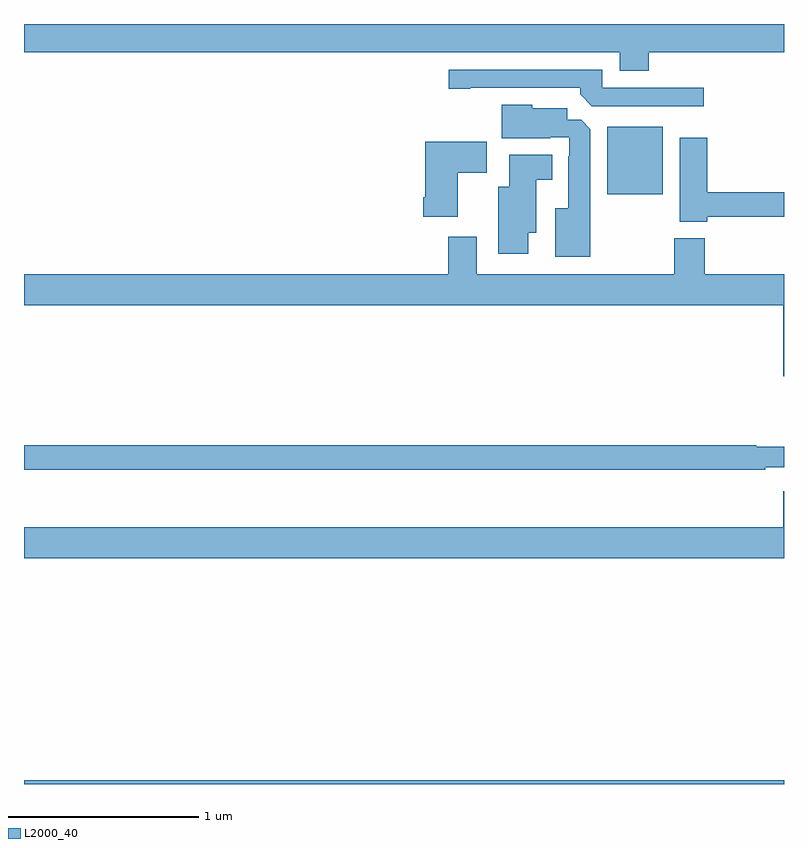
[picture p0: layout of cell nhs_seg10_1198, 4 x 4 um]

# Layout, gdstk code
import gdstk
lib = gdstk.Library(unit=1e-6, precision=1e-09)
def R(c, l, rs):  # rectangles x0, y0, x1, y1
    for r in rs: c.add(gdstk.rectangle(r[:2], r[2:], *l))
def P(c, l, *ps):  # polygons
    for p in ps: c.add(gdstk.Polygon(p, *l))
L2000_40 = (2000, 40)

nhs_seg10_1198 = lib.new_cell('nhs_seg10_1198')
R(nhs_seg10_1198, L2000_40, [(173,1260.5,177,1260.52), (176.069,1263.605,176.362,1263.958)])
P(nhs_seg10_1198, L2000_40, [(176.288,1264.352),(177,1264.352),(177,1264.5),(173,1264.5),(173,1264.352),(176.135,1264.352),(176.135,1264.253),(176.288,1264.253)],
  [(176.578,1264.164),(176.043,1264.164),(176.043,1264.26),(175.236,1264.26),(175.236,1264.159),(175.348,1264.159),(175.348,1264.164),(175.928,1264.164),(175.928,1264.13),(175.989,1264.068),(176.578,1264.068)],
  [(175.981,1263.947),(175.932,1263.996),(175.858,1263.996),(175.858,1264.057),(175.674,1264.057),(175.674,1264.075),(175.514,1264.075),(175.514,1263.899),(175.769,1263.899),(175.769,1263.903),(175.869,1263.903),(175.869,1263.803),(175.865,1263.803),(175.865,1263.529),(175.796,1263.529),(175.796,1263.275),(175.981,1263.275)],
  [(176.597,1263.486),(177,1263.486),(177,1263.614),(176.597,1263.614),(176.597,1263.901),(176.45,1263.901),(176.45,1263.458),(176.597,1263.458)],
  [(175.282,1263.718),(175.435,1263.718),(175.435,1263.88),(175.112,1263.88),(175.112,1263.589),(175.1,1263.589),(175.1,1263.485),(175.282,1263.485)],
  [(175.654,1263.401),(175.696,1263.401),(175.696,1263.68),(175.78,1263.68),(175.78,1263.811),(175.553,1263.811),(175.553,1263.643),(175.496,1263.643),(175.496,1263.291),(175.654,1263.291)],
  [(177,1263.184),(176.582,1263.184),(176.582,1263.373),(176.422,1263.373),(176.422,1263.184),(175.384,1263.184),(175.384,1263.379),(175.232,1263.379),(175.232,1263.184),(173,1263.184),(173,1263.02),(176.996,1263.02),(176.996,1262.646),(177,1262.646)],
  [(176.9,1262.166),(177,1262.166),(177,1262.275),(176.854,1262.275),(176.854,1262.282),(173,1262.282),(173,1262.154),(176.9,1262.154)],
  [(177,1262.041),(176.996,1262.041),(176.996,1261.852),(173,1261.852),(173,1261.688),(177,1261.688)])

lib.write_gds('nhs_seg10_1198.gds')
